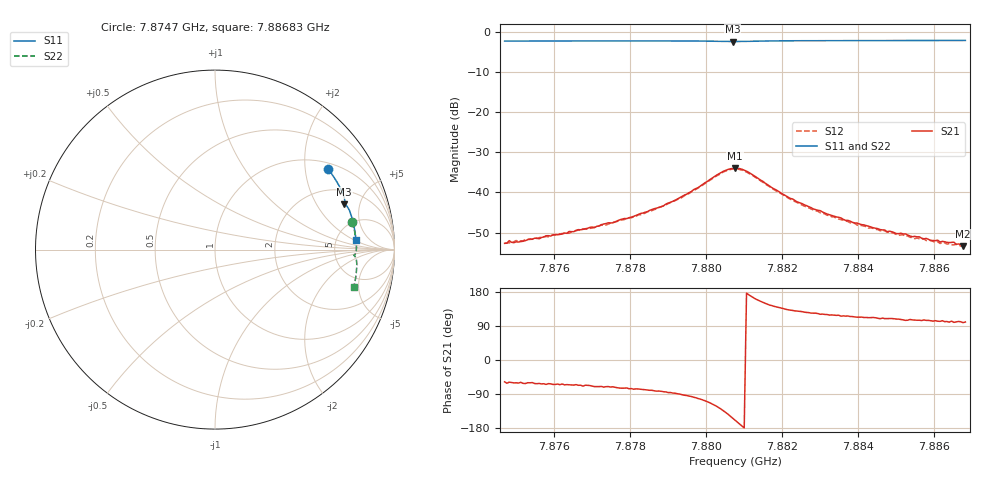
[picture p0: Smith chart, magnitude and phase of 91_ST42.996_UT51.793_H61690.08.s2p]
#  HZ  S  DB  R  50.00
! Rohde & Schwarz Vector Network Analyzer
! Rohde-Schwarz,ZNB20-2Port,1311601062101988,3.16
! Created: UTC 1/12/2023, 6:35:58 PM
! freq[Hz]  db:S11  ang:S11  db:S21  ang:S21  db:S12  ang:S12  db:S22  ang:S22
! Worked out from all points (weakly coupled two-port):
!   201 points, 7.8747 GHz to 7.88683 GHz, reference 50 ohm
!   highest |S21| = -33.93 dB at 7.88077 GHz (marker M1); lowest = -53.4 dB at 7.88677 GHz (marker M2)
!   lowest |S11| = -2.3 dB at 7.88071 GHz (marker M3), VSWR 7.45, Z = 147 + j178 ohm
!   |S11| at or under -10 dB: nowhere
!   |S22| runs from -2.2 to -1.9 dB; largest |S21 - S12| = 0.0013
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7.874703e9  -2.23 35.4  -52.71 -57.6  -52.67 -63.0  -2.16 11.3
7.874824e9  -2.23 35.1  -52.03 -58.5  -52.57 -59.9  -2.16 11.0
7.875006e9  -2.23 34.5  -52.33 -60.2  -51.99 -61.3  -2.15 10.6
7.875067e9  -2.23 34.4  -52.37 -60.9  -52.32 -62.7  -2.15 10.4
7.876401e9  -2.21 30.7  -49.74 -65.5  -50.20 -67.2  -2.11 7.2
7.876765e9  -2.20 29.7  -49.22 -69.0  -49.06 -70.5  -2.10 6.4
7.877371e9  -2.19 28.1  -47.76 -70.4  -48.15 -74.3  -2.09 5.0
7.878766e9  -2.18 24.2  -43.75 -81.9  -43.74 -86.0  -2.07 1.7
7.879312e9  -2.19 22.6  -41.33 -89.9  -41.59 -93.2  -2.07 0.3
7.880404e9  -2.30 19.7  -35.01 -129.7  -35.21 -133.0  -2.18 -2.2
7.880707e9  -2.35 19.4  -34.01 -153.5  -34.16 -156.9  -2.23 -2.4
7.880768e9  -2.35 19.3  -33.93 -158.7  -34.15 -162.3  -2.23 -2.3
7.881071e9  -2.31 19.1  -34.70 176.4  -34.91 173.1  -2.20 -2.5
7.882224e9  -2.15 16.1  -41.51 131.8  -41.69 128.2  -2.03 -4.9
7.88283e9  -2.13 14.4  -44.13 123.8  -44.37 119.8  -2.00 -6.3
7.883983e9  -2.11 11.3  -47.64 113.0  -48.15 109.8  -1.97 -9.0
7.884832e9  -2.10 9.0  -49.68 109.2  -49.95 105.9  -1.94 -10.9
7.885499e9  -2.09 7.3  -50.97 105.3  -51.55 101.4  -1.94 -12.3
7.885924e9  -2.09 6.2  -52.06 103.5  -51.91 99.9  -1.94 -13.3
7.88653e9  -2.08 4.6  -52.42 99.4  -53.07 97.6  -1.93 -14.6
7.886773e9  -2.08 4.0  -53.39 98.7  -53.32 97.8  -1.93 -15.1
7.886833e9  -2.08 3.8  -53.13 100.4  -53.35 96.5  -1.93 -15.2
